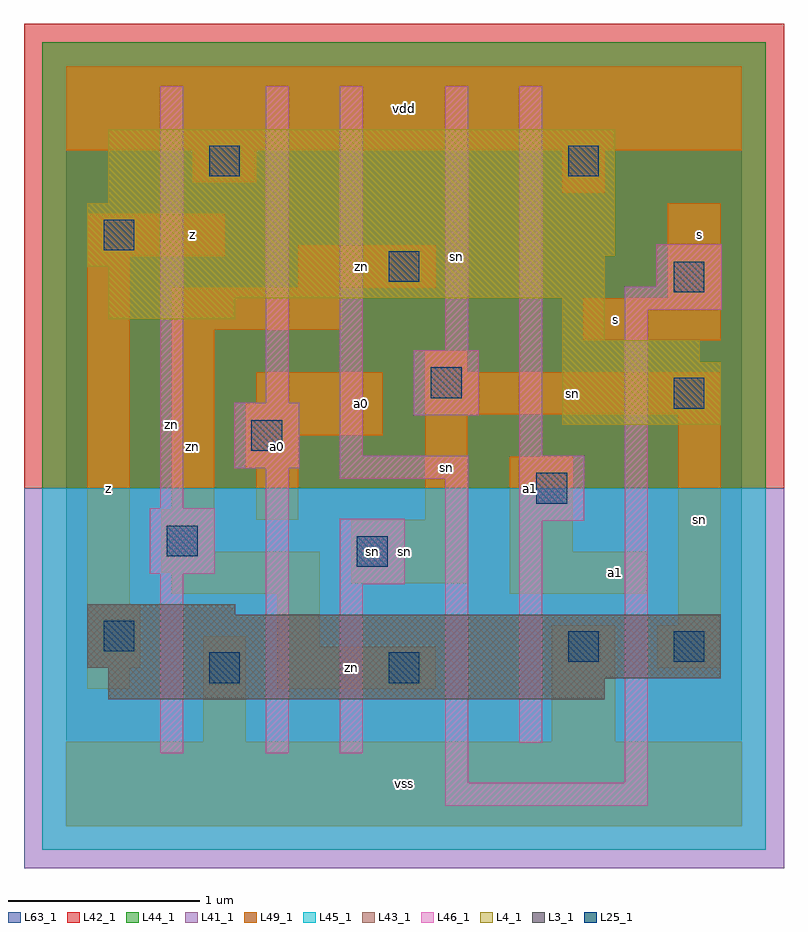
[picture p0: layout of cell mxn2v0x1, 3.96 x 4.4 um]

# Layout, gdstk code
import gdstk
lib = gdstk.Library(unit=1e-6, precision=1e-09)
def R(c, l, rs):  # rectangles x0, y0, x1, y1
    for r in rs: c.add(gdstk.rectangle(r[:2], r[2:], *l))
L3_1 = (3, 1)
L4_1 = (4, 1)
L25_1 = (25, 1)
L41_1 = (41, 1)
L42_1 = (42, 1)
L43_1 = (43, 1)
L44_1 = (44, 1)
L45_1 = (45, 1)
L46_1 = (46, 1)
L49_1 = (49, 1)
L63_1 = (63, 1)

mxn2v0x1 = lib.new_cell('mxn2v0x1')
R(mxn2v0x1, L3_1, [(0.22,0.66,2.805,0.77), (0.22,0.77,3.41,0.825), (0.11,0.825,3.41,1.1), (0.11,1.1,0.88,1.155)])
R(mxn2v0x1, L4_1, [(2.585,2.09,3.41,2.42), (2.585,2.42,3.3,2.53), (2.585,2.53,2.805,2.75), (0.22,2.64,0.88,2.75), (0.22,2.75,2.805,2.915), (0.11,2.915,2.805,2.97), (0.11,2.97,2.86,3.245), (0.22,3.245,2.86,3.63)])
R(mxn2v0x1, L25_1, [(0.745,0.745,0.905,0.905), (1.68,0.745,1.84,0.905), (2.615,0.855,2.775,1.015), (3.165,0.855,3.325,1.015), (0.195,0.91,0.355,1.07), (1.515,1.35,1.675,1.51), (0.525,1.405,0.685,1.565), (2.45,1.68,2.61,1.84), (0.965,1.955,1.125,2.115), (3.165,2.175,3.325,2.335), (1.9,2.23,2.06,2.39), (3.165,2.78,3.325,2.94), (1.68,2.835,1.84,2.995), (0.195,3,0.355,3.16), (0.745,3.385,0.905,3.545), (2.615,3.385,2.775,3.545)])
R(mxn2v0x1, L41_1, [(-0.22,-0.22,3.74,1.76)])
R(mxn2v0x1, L42_1, [(-0.22,1.76,3.74,4.18)])
R(mxn2v0x1, L43_1, [(0.22,0.66,2.805,0.77), (0.22,0.77,3.41,0.825), (0.11,0.825,3.41,1.1), (0.11,1.1,0.88,1.155), (2.585,2.09,3.41,2.42), (2.585,2.42,3.3,2.53), (2.585,2.53,2.805,2.75), (0.22,2.64,0.88,2.75), (0.22,2.75,2.805,2.915), (0.11,2.915,2.805,2.97), (0.11,2.97,2.86,3.245), (0.22,3.245,2.86,3.63)])
R(mxn2v0x1, L44_1, [(-0.125,1.76,3.645,4.085)])
R(mxn2v0x1, L45_1, [(-0.125,-0.125,3.645,1.76)])
R(mxn2v0x1, L46_1, [(1.975,0.105,3.03,0.225), (1.975,0.225,2.095,1.81), (2.91,0.225,3.03,2.69), (0.49,0.38,0.61,1.315), (1.04,0.38,1.16,1.865), (1.425,0.38,1.545,1.26), (2.36,0.435,2.48,1.59), (1.425,1.26,1.765,1.6), (0.435,1.315,0.775,1.655), (2.36,1.59,2.7,1.93), (0.49,1.655,0.61,3.855), (1.425,1.81,2.095,1.93), (0.875,1.865,1.215,2.205), (1.425,1.93,1.545,3.855), (2.36,1.93,2.48,3.855), (1.81,2.14,2.15,2.48), (1.04,2.205,1.16,3.855), (1.975,2.48,2.095,3.855), (2.91,2.69,3.415,2.81), (3.075,2.81,3.415,3.03)])
R(mxn2v0x1, L49_1, [(0,0,3.52,0.44), (0.715,0.44,0.935,0.99), (2.53,0.44,2.86,1.045), (0.11,0.715,0.33,0.825), (1.1,0.715,1.925,0.935), (0.11,0.825,0.385,1.155), (3.08,0.825,3.41,1.045), (1.1,0.935,1.32,1.21), (3.19,1.045,3.41,2.145), (0.11,1.155,0.33,2.97), (0.55,1.21,1.32,1.32), (2.31,1.21,3.025,1.43), (1.485,1.265,2.09,1.595), (0.495,1.32,1.32,1.43), (0.495,1.43,0.77,1.65), (2.31,1.43,2.64,1.925), (0.99,1.595,1.21,1.87), (1.87,1.595,2.09,2.145), (0.55,1.65,0.77,2.585), (0.935,1.87,1.21,2.035), (0.935,2.035,1.65,2.2), (1.87,2.145,3.41,2.365), (0.99,2.2,1.65,2.365), (1.87,2.365,2.09,2.475), (2.695,2.53,3.41,2.75), (0.55,2.585,1.43,2.805), (3.135,2.75,3.41,3.245), (1.21,2.805,1.925,3.025), (0.11,2.97,0.825,3.19), (2.585,3.3,2.805,3.52), (0.66,3.355,0.99,3.52), (0,3.52,3.52,3.96)])
R(mxn2v0x1, L63_1, [(0,0,3.52,3.96)])
mxn2v0x1.add(gdstk.Label('zn', (0.55,2.09), layer=46, texttype=1))
mxn2v0x1.add(gdstk.Label('sn', (1.595,1.43), layer=49, texttype=1))
mxn2v0x1.add(gdstk.Label('sn', (2.035,2.97), layer=46, texttype=1))
mxn2v0x1.add(gdstk.Label('z', (0.22,1.76), layer=49, texttype=1))
mxn2v0x1.add(gdstk.Label('zn', (0.66,1.98), layer=49, texttype=1))
mxn2v0x1.add(gdstk.Label('z', (0.66,3.08), layer=49, texttype=1))
mxn2v0x1.add(gdstk.Label('a0', (1.54,2.2), layer=49, texttype=1))
mxn2v0x1.add(gdstk.Label('a0', (1.1,1.98), layer=49, texttype=1))
mxn2v0x1.add(gdstk.Label('vss', (1.76,0.22), layer=49, texttype=1))
mxn2v0x1.add(gdstk.Label('zn', (1.485,0.825), layer=49, texttype=1))
mxn2v0x1.add(gdstk.Label('sn', (1.76,1.43), layer=49, texttype=1))
mxn2v0x1.add(gdstk.Label('a1', (2.42,1.76), layer=49, texttype=1))
mxn2v0x1.add(gdstk.Label('sn', (1.98,1.87), layer=49, texttype=1))
mxn2v0x1.add(gdstk.Label('zn', (1.54,2.915), layer=49, texttype=1))
mxn2v0x1.add(gdstk.Label('vdd', (1.76,3.74), layer=49, texttype=1))
mxn2v0x1.add(gdstk.Label('a1', (2.86,1.32), layer=49, texttype=1))
mxn2v0x1.add(gdstk.Label('sn', (3.3,1.595), layer=49, texttype=1))
mxn2v0x1.add(gdstk.Label('s', (2.86,2.64), layer=49, texttype=1))
mxn2v0x1.add(gdstk.Label('sn', (2.64,2.255), layer=49, texttype=1))
mxn2v0x1.add(gdstk.Label('s', (3.3,3.08), layer=49, texttype=1))

lib.write_gds('mxn2v0x1.gds')
